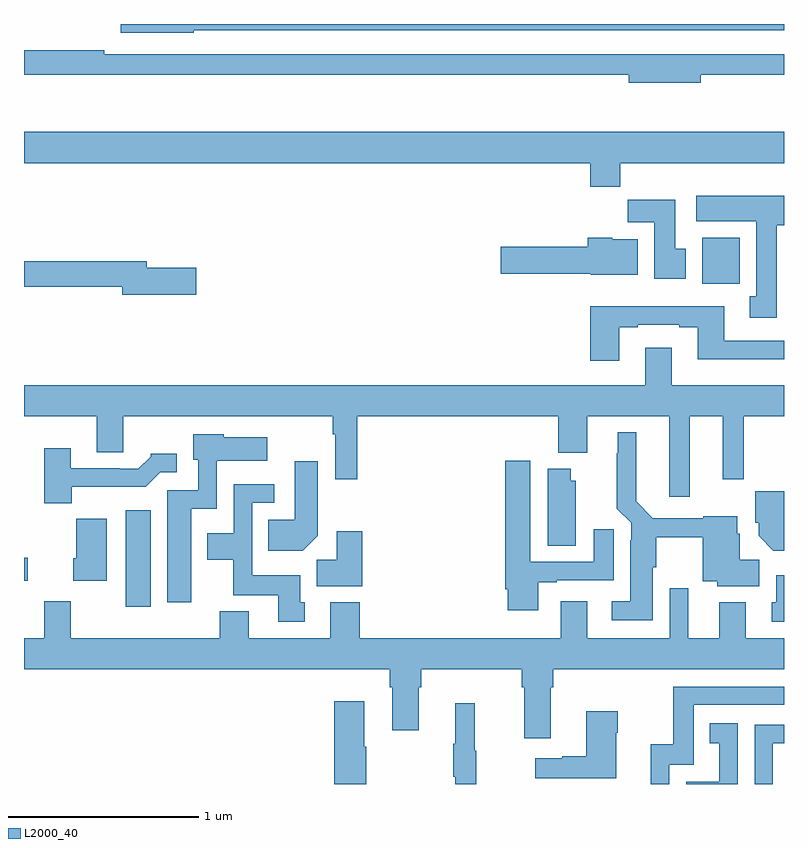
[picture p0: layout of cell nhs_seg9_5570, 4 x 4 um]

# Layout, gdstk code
import gdstk
lib = gdstk.Library(unit=1e-6, precision=1e-09)
def R(c, l, rs):  # rectangles x0, y0, x1, y1
    for r in rs: c.add(gdstk.rectangle(r[:2], r[2:], *l))
def P(c, l, *ps):  # polygons
    for p in ps: c.add(gdstk.Polygon(p, *l))
L2000_40 = (2000, 40)

nhs_seg9_5570 = lib.new_cell('nhs_seg9_5570')
R(nhs_seg9_5570, L2000_40, [(435.536,1179.432,435.667,1179.94), (435,1179.569,435.019,1179.691), (438.569,1181.132,438.766,1181.374)])
P(nhs_seg9_5570, L2000_40, [(435.894,1182.468),(439,1182.468),(439,1182.5),(435.51,1182.5),(435.51,1182.455),(435.894,1182.455)],
  [(438.562,1182.234),(439,1182.234),(439,1182.342),(435.422,1182.342),(435.422,1182.362),(435,1182.362),(435,1182.234),(438.182,1182.234),(438.182,1182.191),(438.562,1182.191)],
  [(438.137,1181.768),(439,1181.768),(439,1181.932),(435,1181.932),(435,1181.768),(437.981,1181.768),(437.981,1181.644),(438.137,1181.644)],
  [(438.961,1181.442),(439,1181.442),(439,1181.596),(438.537,1181.596),(438.537,1181.462),(438.854,1181.462),(438.854,1181.066),(438.821,1181.066),(438.821,1180.953),(438.961,1180.953)],
  [(438.484,1181.316),(438.427,1181.316),(438.427,1181.575),(438.178,1181.575),(438.178,1181.456),(438.317,1181.456),(438.317,1181.16),(438.484,1181.16)],
  [(438.229,1181.368),(438.096,1181.368),(438.096,1181.374),(437.966,1181.374),(437.966,1181.328),(437.508,1181.328),(437.508,1181.186),(437.982,1181.186),(437.982,1181.18),(438.229,1181.18)],
  [(435.907,1181.216),(435.646,1181.216),(435.646,1181.252),(435,1181.252),(435,1181.116),(435.518,1181.116),(435.518,1181.074),(435.907,1181.074)],
  [(438.133,1180.905),(438.229,1180.905),(438.229,1180.917),(438.449,1180.917),(438.449,1180.905),(438.545,1180.905),(438.545,1180.736),(439,1180.736),(439,1180.833),(438.685,1180.833),(438.685,1181.014),(437.981,1181.014),(437.981,1180.728),(438.133,1180.728)],
  [(435,1180.436),(435.383,1180.436),(435.383,1180.246),(435.523,1180.246),(435.523,1180.436),(436.626,1180.436),(436.626,1180.34),(436.638,1180.34),(436.638,1180.104),(436.754,1180.104),(436.754,1180.436),(437.813,1180.436),(437.813,1180.244),(437.965,1180.244),(437.965,1180.436),(438.395,1180.436),(438.395,1180.011),(438.505,1180.011),(438.505,1180.436),(438.677,1180.436),(438.677,1180.104),(438.787,1180.104),(438.787,1180.436),(439,1180.436),(439,1180.6),(438.409,1180.6),(438.409,1180.795),(438.269,1180.795),(438.269,1180.6),(435,1180.6)],
  [(438.31,1179.642),(438.328,1179.642),(438.328,1179.799),(438.573,1179.799),(438.573,1179.566),(438.648,1179.566),(438.648,1179.542),(438.871,1179.542),(438.871,1179.68),(438.766,1179.68),(438.766,1179.816),(438.754,1179.816),(438.754,1179.91),(438.576,1179.91),(438.576,1179.9),(438.31,1179.9),(438.223,1179.988),(438.223,1180.351),(438.125,1180.351),(438.125,1180.241),(438.121,1180.241),(438.121,1179.95),(438.195,1179.876),(438.195,1179.782),(438.191,1179.782),(438.191,1179.463),(438.093,1179.463),(438.093,1179.362),(438.31,1179.362)],
  [(435.88,1179.95),(436.014,1179.95),(436.014,1180.202),(436.279,1180.202),(436.279,1180.324),(436.05,1180.324),(436.05,1180.342),(435.89,1180.342),(435.89,1180.206),(435.918,1180.206),(435.918,1180.047),(435.755,1180.047),(435.755,1179.456),(435.88,1179.456)],
  [(435.25,1180.064),(435.641,1180.064),(435.717,1180.14),(435.805,1180.14),(435.805,1180.237),(435.666,1180.237),(435.666,1180.222),(435.602,1180.158),(435.503,1180.158),(435.503,1180.161),(435.247,1180.161),(435.247,1180.267),(435.107,1180.267),(435.107,1179.977),(435.25,1179.977)],
  [(437.707,1179.561),(437.803,1179.561),(437.803,1179.573),(438.103,1179.573),(438.103,1179.841),(437.999,1179.841),(437.999,1179.669),(437.665,1179.669),(437.665,1180.201),(437.534,1180.201),(437.534,1179.526),(437.546,1179.526),(437.546,1179.414),(437.707,1179.414)],
  [(436.546,1179.806),(436.546,1180.198),(436.424,1180.198),(436.424,1179.892),(436.285,1179.892),(436.285,1179.728),(436.468,1179.728)],
  [(437.905,1180.095),(437.878,1180.095),(437.878,1180.159),(437.756,1180.159),(437.756,1179.754),(437.905,1179.754)],
  [(436.477,1179.456),(436.453,1179.456),(436.453,1179.598),(436.2,1179.598),(436.2,1179.981),(436.318,1179.981),(436.318,1180.077),(436.104,1180.077),(436.104,1179.82),(435.965,1179.82),(435.965,1179.68),(436.102,1179.68),(436.102,1179.494),(436.337,1179.494),(436.337,1179.354),(436.477,1179.354)],
  [(439,1180.042),(438.848,1180.042),(438.848,1179.876),(438.866,1179.876),(438.866,1179.806),(438.944,1179.728),(439,1179.728)],
  [(435.436,1179.895),(435.274,1179.895),(435.274,1179.687),(435.26,1179.687),(435.26,1179.569),(435.436,1179.569)],
  [(436.781,1179.829),(436.646,1179.829),(436.646,1179.68),(436.541,1179.68),(436.541,1179.542),(436.781,1179.542)],
  [(439,1179.598),(438.959,1179.598),(438.959,1179.456),(438.935,1179.456),(438.935,1179.354),(439,1179.354)],
  [(437.773,1179.008),(437.786,1179.008),(437.786,1179.104),(439,1179.104),(439,1179.268),(438.799,1179.268),(438.799,1179.457),(438.659,1179.457),(438.659,1179.268),(438.496,1179.268),(438.496,1179.529),(438.399,1179.529),(438.399,1179.268),(437.965,1179.268),(437.965,1179.463),(437.825,1179.463),(437.825,1179.268),(436.766,1179.268),(436.766,1179.457),(436.613,1179.457),(436.613,1179.268),(436.183,1179.268),(436.183,1179.409),(436.031,1179.409),(436.031,1179.268),(435.247,1179.268),(435.247,1179.463),(435.107,1179.463),(435.107,1179.268),(435,1179.268),(435,1179.104),(436.925,1179.104),(436.925,1179.008),(436.937,1179.008),(436.937,1178.784),(437.077,1178.784),(437.077,1179.008),(437.09,1179.008),(437.09,1179.104),(437.621,1179.104),(437.621,1179.008),(437.633,1179.008),(437.633,1178.742),(437.773,1178.742)],
  [(438.396,1178.601),(438.525,1178.601),(438.525,1178.916),(439,1178.916),(439,1179.012),(438.417,1179.012),(438.417,1178.71),(438.299,1178.71),(438.299,1178.5),(438.396,1178.5)],
  [(436.8,1178.696),(436.792,1178.696),(436.792,1178.935),(436.634,1178.935),(436.634,1178.5),(436.8,1178.5)],
  [(437.38,1178.676),(437.372,1178.676),(437.372,1178.926),(437.27,1178.926),(437.27,1178.713),(437.259,1178.713),(437.259,1178.539),(437.27,1178.539),(437.27,1178.5),(437.38,1178.5)],
  [(438.118,1178.771),(438.126,1178.771),(438.126,1178.884),(437.96,1178.884),(437.96,1178.645),(437.834,1178.645),(437.834,1178.635),(437.691,1178.635),(437.691,1178.531),(438.118,1178.531)],
  [(438.756,1178.821),(438.61,1178.821),(438.61,1178.715),(438.659,1178.715),(438.659,1178.511),(438.486,1178.511),(438.486,1178.5),(438.756,1178.5)],
  [(438.942,1178.714),(439,1178.714),(439,1178.811),(438.846,1178.811),(438.846,1178.5),(438.942,1178.5)])

lib.write_gds('nhs_seg9_5570.gds')
